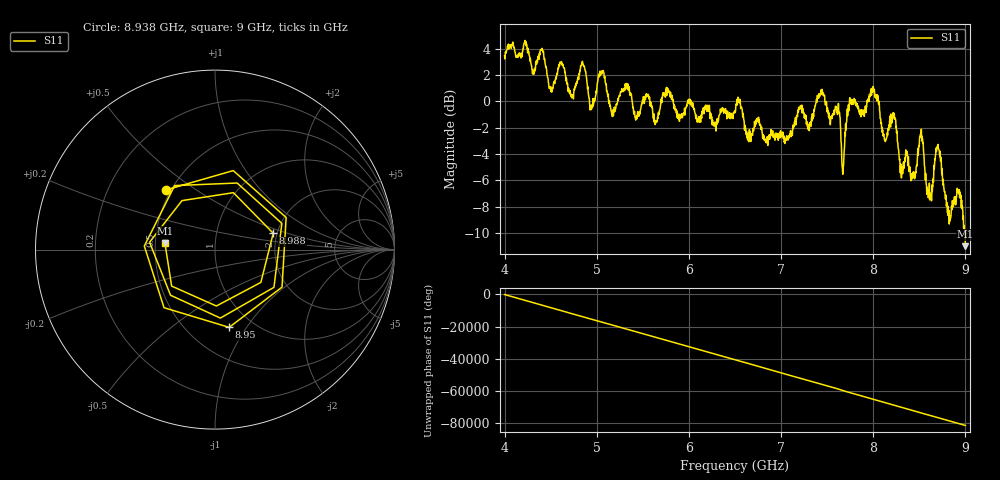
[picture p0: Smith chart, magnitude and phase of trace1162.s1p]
! Created with skrf 1.8.0 (http://scikit-rf.org).
# Hz S RI R 50.0
!freq ReS11 ImS11
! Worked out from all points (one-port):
!   1601 points, 4 GHz to 9 GHz, reference 50 ohm
!   lowest |S11| = -11.0 dB at 9 GHz (marker M1), VSWR 1.78, Z = 28.1 + j2.16 ohm
!   |S11| at or under -10 dB: 8.990715 GHz to end of sweep
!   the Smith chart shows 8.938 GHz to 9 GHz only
!   S11 on the Smith chart (normalised r, x): 8.938 GHz: 0.47, +0.38; 8.95 GHz: 0.78, -0.84; 8.988 GHz: 1.91, +0.39; 9 GHz: 0.56, +0.04
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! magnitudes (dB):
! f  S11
! 4 GHz  3.5
! 4.403 GHz  4.0
! 4.503 GHz  0.8
! 4.625 GHz  2.9
! 4.725 GHz  0.5
! 4.856 GHz  2.7
! 4.947 GHz  -0.5
! 5.053 GHz  2.1
! 5.162 GHz  -1.0
! 5.25 GHz  0.4
! 5.875 GHz  -0.9
! 6.5 GHz  -0.8
! 7.125 GHz  -2.1
! 7.447 GHz  0.8
! 7.616 GHz  -0.7
! 7.672 GHz  -5.2
! 7.75 GHz  -0.1
! 8 GHz  1.2
! 8.375 GHz  -4.3
! 8.438 GHz  -5.7
! 8.522 GHz  -2.1
! 8.609 GHz  -6.2
! 8.703 GHz  -3.3
! 8.819 GHz  -8.7
! 8.938 GHz  -7.3
! 8.95 GHz  -7.1
! 8.988 GHz  -9.4
! 9 GHz  -11.0
